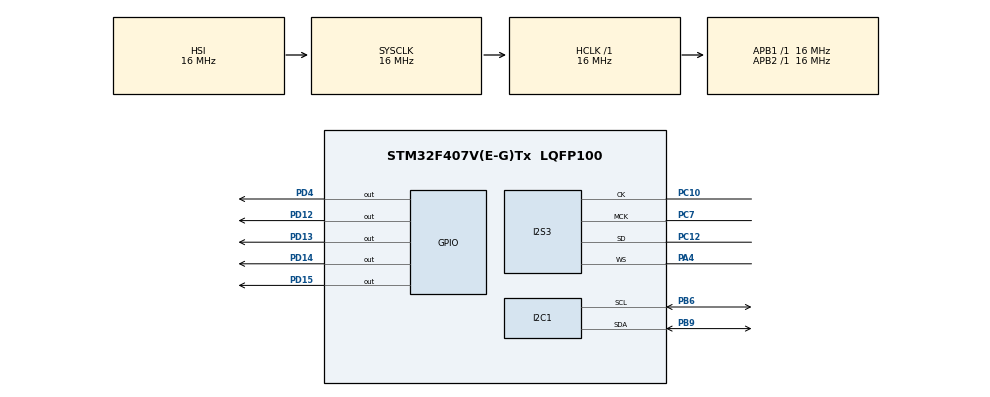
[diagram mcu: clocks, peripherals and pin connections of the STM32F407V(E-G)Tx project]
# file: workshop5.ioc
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Dma.Request0=SPI3_TX
Dma.SPI3_TX.0.Direction=DMA_MEMORY_TO_PERIPH
Dma.SPI3_TX.0.FIFOMode=DMA_FIFOMODE_DISABLE
Dma.SPI3_TX.0.Instance=DMA1_Stream5
Dma.SPI3_TX.0.MemDataAlignment=DMA_MDATAALIGN_HALFWORD
Dma.SPI3_TX.0.MemInc=DMA_MINC_ENABLE
Dma.SPI3_TX.0.Mode=DMA_CIRCULAR
Dma.SPI3_TX.0.PeriphDataAlignment=DMA_PDATAALIGN_HALFWORD
Dma.SPI3_TX.0.PeriphInc=DMA_PINC_DISABLE
Dma.SPI3_TX.0.Priority=DMA_PRIORITY_LOW
I2S3.AudioFreq=I2S_AUDIOFREQ_48K
I2S3.ErrorAudioFreq=-2.34 %
I2S3.FullDuplexMode=I2S_FULLDUPLEXMODE_DISABLE
I2S3.Instance=SPI$Index
I2S3.RealAudioFreq=46.875 KHz
I2S3.VirtualMode=I2S_MODE_MASTER
Mcu.Family=STM32F4
Mcu.Name=STM32F407V(E-G)Tx
Mcu.Package=LQFP100
NVIC.DMA1_Stream5_IRQn=true\:0\:0\:false\:false\:true\:false\:true\:true
NVIC.PriorityGroup=NVIC_PRIORITYGROUP_4
PA4.Mode=Half_Duplex_Master
PA4.Signal=I2S3_WS
PB6.Mode=I2C
PB6.Signal=I2C1_SCL
PB9.Mode=I2C
PB9.Signal=I2C1_SDA
PC10.Mode=Half_Duplex_Master
PC10.Signal=I2S3_CK
PC12.Mode=Half_Duplex_Master
PC12.Signal=I2S3_SD
PC7.Mode=Master_Clock_Activated
PC7.Signal=I2S3_MCK
PD12.Signal=GPIO_Output
PD13.Signal=GPIO_Output
PD14.Signal=GPIO_Output
PD15.Signal=GPIO_Output
PD4.Signal=GPIO_Output
ProjectManager.HeapSize=0x200
ProjectManager.StackSize=0x400
ProjectManager.TargetToolchain=STM32CubeIDE
RCC.AHBFreq_Value=16000000
RCC.APB1Freq_Value=16000000
RCC.APB2Freq_Value=16000000
RCC.CortexFreq_Value=16000000
RCC.HSE_VALUE=25000000
RCC.HSI_VALUE=16000000
RCC.LSE_VALUE=32768
RCC.SYSCLKFreq_VALUE=16000000
RCC.VCOOutputFreq_Value=192000000
board=custom

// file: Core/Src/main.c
/* USER CODE BEGIN Header */
/**
  ******************************************************************************
  * @file           : main.c
  * @brief          : Main program body
  ******************************************************************************
  * @attention
  *
  * Copyright (c) 2026 STMicroelectronics.
  * All rights reserved.
  *
  * This software is licensed under terms that can be found in the LICENSE file
  * in the root directory of this software component.
  * If no LICENSE file comes with this software, it is provided AS-IS.
  *
  ******************************************************************************
  */
/* USER CODE END Header */
#include "main.h"

/* USER CODE BEGIN PTD */
typedef struct {
  uint8_t beep_code;
  uint16_t hold_ms;
  uint16_t led_pin;
} BeepFrame;
/* USER CODE END PTD */

/* USER CODE BEGIN PD */
#define CS43L22_I2C_ADDR              0x94

#define CS43L22_REG_POWER_CTL1        0x02
#define CS43L22_REG_POWER_CTL2        0x04
#define CS43L22_REG_CLOCKING_CTL      0x05
#define CS43L22_REG_INTERFACE_CTL1    0x06
#define CS43L22_REG_MASTER_A_VOL      0x20
#define CS43L22_REG_MASTER_B_VOL      0x21
#define CS43L22_REG_BEEP_FREQ_ONTIME  0x1C
#define CS43L22_REG_BEEP_VOL_OFFTIME  0x1D
#define CS43L22_REG_BEEP_TONE_CFG     0x1E

#define BEEP_C4   0x00
#define BEEP_C5   0x10
#define BEEP_D5   0x20
#define BEEP_E5   0x30
#define BEEP_F5   0x40
#define BEEP_G5   0x50
#define BEEP_A5   0x60
#define BEEP_B5   0x70
#define BEEP_C6   0x80
#define BEEP_D6   0x90
#define BEEP_E6   0xA0
#define BEEP_F6   0xB0
#define BEEP_G6   0xC0
#define BEEP_A6   0xD0
#define BEEP_B6   0xE0
#define BEEP_C7   0xF0

#define TRACK_REPEAT_COUNT 3
#define I2S_BUFFER_SIZE    16
#define FRAME_PAUSE_MS     46
#define CYCLE_PAUSE_MS     560
/* USER CODE END PD */

I2C_HandleTypeDef hi2c1;

I2S_HandleTypeDef hi2s3;
DMA_HandleTypeDef hdma_spi3_tx;

/* USER CODE BEGIN PV */
static uint16_t i2sBuffer[I2S_BUFFER_SIZE] = {0};

static const BeepFrame track[] = {
  {BEEP_C5, 140, GPIO_PIN_12},
  {BEEP_G5, 170, GPIO_PIN_15},
  {BEEP_E5, 140, GPIO_PIN_14},
  {BEEP_C5, 240, GPIO_PIN_13},

  {BEEP_D5, 150, GPIO_PIN_13},
  {BEEP_F5, 150, GPIO_PIN_12},
  {BEEP_A5, 230, GPIO_PIN_15},
  {BEEP_G5, 280, GPIO_PIN_14},

  {BEEP_E5, 140, GPIO_PIN_14},
  {BEEP_C6, 170, GPIO_PIN_12},
  {BEEP_A5, 140, GPIO_PIN_13},
  {BEEP_F5, 260, GPIO_PIN_15},

  {BEEP_G5, 150, GPIO_PIN_15},
  {BEEP_E5, 150, GPIO_PIN_14},
  {BEEP_D5, 220, GPIO_PIN_13},
  {BEEP_B5, 280, GPIO_PIN_12},

  {BEEP_C6, 140, GPIO_PIN_12},
  {BEEP_B5, 140, GPIO_PIN_13},
  {BEEP_A5, 210, GPIO_PIN_14},
  {BEEP_G5, 260, GPIO_PIN_15},

  {BEEP_E5, 160, GPIO_PIN_14},
  {BEEP_F5, 160, GPIO_PIN_12},
  {BEEP_D5, 220, GPIO_PIN_13},
  {BEEP_C5, 430, GPIO_PIN_15}
};

static const uint32_t trackLength = sizeof(track) / sizeof(track[0]);
/* USER CODE END PV */

void SystemClock_Config(void);
static void MX_GPIO_Init(void);
static void MX_DMA_Init(void);
static void MX_I2C1_Init(void);
static void MX_I2S3_Init(void);
/* USER CODE BEGIN PFP */
static void CS43L22_WriteReg(uint8_t reg, uint8_t value);
static void CS43L22_Init(void);
static void CS43L22_PlayFrame(uint8_t beep_code, uint16_t hold_ms, uint16_t led_pin);
static void PlayTrackOnce(void);
static void PlayTrackThreeTimes(void);
static void ClearLeds(void);
/* USER CODE END PFP */

/* USER CODE BEGIN 0 */
static void CS43L22_WriteReg(uint8_t reg, uint8_t value)
{
  uint8_t data[2] = {reg, value};
  HAL_I2C_Master_Transmit(&hi2c1, CS43L22_I2C_ADDR, data, 2, HAL_MAX_DELAY);
}

static void CS43L22_Init(void)
{
  HAL_GPIO_WritePin(GPIOD, GPIO_PIN_4, GPIO_PIN_RESET);
  HAL_Delay(10);
  HAL_GPIO_WritePin(GPIOD, GPIO_PIN_4, GPIO_PIN_SET);
  HAL_Delay(10);

  CS43L22_WriteReg(CS43L22_REG_POWER_CTL1, 0x01);
  CS43L22_WriteReg(CS43L22_REG_POWER_CTL2, 0xAF);
  CS43L22_WriteReg(CS43L22_REG_CLOCKING_CTL, 0x81);
  CS43L22_WriteReg(CS43L22_REG_INTERFACE_CTL1, 0x04);
  CS43L22_WriteReg(CS43L22_REG_MASTER_A_VOL, 0x18);
  CS43L22_WriteReg(CS43L22_REG_MASTER_B_VOL, 0x18);
  CS43L22_WriteReg(CS43L22_REG_POWER_CTL1, 0x9E);
}

static void ClearLeds(void)
{
  HAL_GPIO_WritePin(GPIOD, GPIO_PIN_12 | GPIO_PIN_13 | GPIO_PIN_14 | GPIO_PIN_15, GPIO_PIN_RESET);
}

static void CS43L22_PlayFrame(uint8_t beep_code, uint16_t hold_ms, uint16_t led_pin)
{
  if (hold_ms == 0) {
    return;
  }

  ClearLeds();

  CS43L22_WriteReg(CS43L22_REG_BEEP_FREQ_ONTIME, beep_code | 0x0F);
  CS43L22_WriteReg(CS43L22_REG_BEEP_VOL_OFFTIME, 0x00);
  CS43L22_WriteReg(CS43L22_REG_BEEP_TONE_CFG, 0xC0);

  HAL_GPIO_WritePin(GPIOD, led_pin, GPIO_PIN_SET);
  HAL_Delay(hold_ms);

  CS43L22_WriteReg(CS43L22_REG_BEEP_TONE_CFG, 0x00);
  ClearLeds();
}

static void PlayTrackOnce(void)
{
  for (uint32_t i = 0; i < trackLength; i++) {
    CS43L22_PlayFrame(track[i].beep_code, track[i].hold_ms, track[i].led_pin);
    HAL_Delay(FRAME_PAUSE_MS);
  }
}

static void PlayTrackThreeTimes(void)
{
  for (uint32_t round = 0; round < TRACK_REPEAT_COUNT; round++) {
    PlayTrackOnce();
    HAL_Delay(CYCLE_PAUSE_MS);
  }

  ClearLeds();
}
/* USER CODE END 0 */

int main(void)
{

  /* MCU Configuration--------------------------------------------------------*/

  /* Reset of all peripherals, Initializes the Flash interface and the Systick. */
  HAL_Init();

  /* Configure the system clock */
  SystemClock_Config();

  /* Initialize all configured peripherals */
  MX_GPIO_Init();
  MX_DMA_Init();
  MX_I2C1_Init();
  MX_I2S3_Init();
  /* USER CODE BEGIN 2 */
  if (HAL_I2S_Transmit_DMA(&hi2s3, i2sBuffer, I2S_BUFFER_SIZE) != HAL_OK)
  {
    Error_Handler();
  }

  CS43L22_Init();
  PlayTrackThreeTimes();
  /* USER CODE END 2 */

  /* Infinite loop */
  while (1)
  {

  }
}

void SystemClock_Config(void)
{
  RCC_OscInitTypeDef RCC_OscInitStruct = {0};
  RCC_ClkInitTypeDef RCC_ClkInitStruct = {0};

  /** Macro to configure the PLL multiplication factor
  */
  __HAL_RCC_PLL_PLLM_CONFIG(16);

  /** Macro to configure the PLL clock source
  */
  __HAL_RCC_PLL_PLLSOURCE_CONFIG(RCC_PLLSOURCE_HSI);

  /** Configure the main internal regulator output voltage
  */
  __HAL_RCC_PWR_CLK_ENABLE();
  __HAL_PWR_VOLTAGESCALING_CONFIG(PWR_REGULATOR_VOLTAGE_SCALE1);

  /** Initializes the RCC Oscillators according to the specified parameters
  * in the RCC_OscInitTypeDef structure.
  */
  RCC_OscInitStruct.OscillatorType = RCC_OSCILLATORTYPE_HSI;
  RCC_OscInitStruct.HSIState = RCC_HSI_ON;
  RCC_OscInitStruct.HSICalibrationValue = RCC_HSICALIBRATION_DEFAULT;
  RCC_OscInitStruct.PLL.PLLState = RCC_PLL_NONE;
  RCC_OscInitStruct.PLL.PLLSource = RCC_PLLSOURCE_HSI;
  if (HAL_RCC_OscConfig(&RCC_OscInitStruct) != HAL_OK)
  {
    Error_Handler();
  }

  /** Initializes the CPU, AHB and APB buses clocks
  */
  RCC_ClkInitStruct.ClockType = RCC_CLOCKTYPE_HCLK|RCC_CLOCKTYPE_SYSCLK
                              |RCC_CLOCKTYPE_PCLK1|RCC_CLOCKTYPE_PCLK2;
  RCC_ClkInitStruct.SYSCLKSource = RCC_SYSCLKSOURCE_HSI;
  RCC_ClkInitStruct.AHBCLKDivider = RCC_SYSCLK_DIV1;
  RCC_ClkInitStruct.APB1CLKDivider = RCC_HCLK_DIV1;
  RCC_ClkInitStruct.APB2CLKDivider = RCC_HCLK_DIV1;

  if (HAL_RCC_ClockConfig(&RCC_ClkInitStruct, FLASH_LATENCY_0) != HAL_OK)
  {
    Error_Handler();
  }
}

static void MX_I2C1_Init(void)
{

  hi2c1.Instance = I2C1;
  hi2c1.Init.ClockSpeed = 100000;
  hi2c1.Init.DutyCycle = I2C_DUTYCYCLE_2;
  hi2c1.Init.OwnAddress1 = 0;
  hi2c1.Init.AddressingMode = I2C_ADDRESSINGMODE_7BIT;
  hi2c1.Init.DualAddressMode = I2C_DUALADDRESS_DISABLE;
  hi2c1.Init.OwnAddress2 = 0;
  hi2c1.Init.GeneralCallMode = I2C_GENERALCALL_DISABLE;
  hi2c1.Init.NoStretchMode = I2C_NOSTRETCH_DISABLE;
  if (HAL_I2C_Init(&hi2c1) != HAL_OK)
  {
    Error_Handler();
  }

}

static void MX_I2S3_Init(void)
{

  hi2s3.Instance = SPI3;
  hi2s3.Init.Mode = I2S_MODE_MASTER_TX;
  hi2s3.Init.Standard = I2S_STANDARD_PHILIPS;
  hi2s3.Init.DataFormat = I2S_DATAFORMAT_16B;
  hi2s3.Init.MCLKOutput = I2S_MCLKOUTPUT_ENABLE;
  hi2s3.Init.AudioFreq = I2S_AUDIOFREQ_48K;
  hi2s3.Init.CPOL = I2S_CPOL_LOW;
  hi2s3.Init.ClockSource = I2S_CLOCK_PLL;
  hi2s3.Init.FullDuplexMode = I2S_FULLDUPLEXMODE_DISABLE;
  if (HAL_I2S_Init(&hi2s3) != HAL_OK)
  {
    Error_Handler();
  }

}

static void MX_DMA_Init(void)
{

  /* DMA controller clock enable */
  __HAL_RCC_DMA1_CLK_ENABLE();

  /* DMA interrupt init */
  /* DMA1_Stream5_IRQn interrupt configuration */
  HAL_NVIC_SetPriority(DMA1_Stream5_IRQn, 0, 0);
  HAL_NVIC_EnableIRQ(DMA1_Stream5_IRQn);

}

static void MX_GPIO_Init(void)
{
  GPIO_InitTypeDef GPIO_InitStruct = {0};

  /* GPIO Ports Clock Enable */
  __HAL_RCC_GPIOA_CLK_ENABLE();
  __HAL_RCC_GPIOD_CLK_ENABLE();
  __HAL_RCC_GPIOC_CLK_ENABLE();
  __HAL_RCC_GPIOB_CLK_ENABLE();

  /*Configure GPIO pin Output Level */
  HAL_GPIO_WritePin(GPIOD, GPIO_PIN_12|GPIO_PIN_13|GPIO_PIN_14|GPIO_PIN_15
                          |GPIO_PIN_4, GPIO_PIN_RESET);

  /*Configure GPIO pins : PD12 PD13 PD14 PD15
                           PD4 */
  GPIO_InitStruct.Pin = GPIO_PIN_12|GPIO_PIN_13|GPIO_PIN_14|GPIO_PIN_15
                          |GPIO_PIN_4;
  GPIO_InitStruct.Mode = GPIO_MODE_OUTPUT_PP;
  GPIO_InitStruct.Pull = GPIO_NOPULL;
  GPIO_InitStruct.Speed = GPIO_SPEED_FREQ_LOW;
  HAL_GPIO_Init(GPIOD, &GPIO_InitStruct);

}

void Error_Handler(void)
{
  __disable_irq();
  while (1)
  {
  }
}
